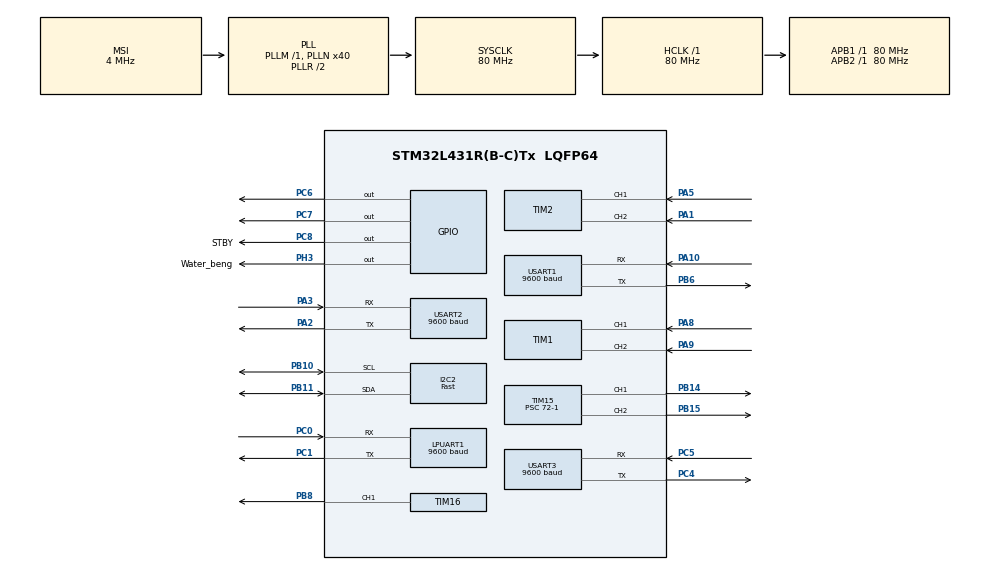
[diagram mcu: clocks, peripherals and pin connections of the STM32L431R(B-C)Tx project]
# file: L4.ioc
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Dma.Request0=USART2_RX
Dma.USART2_RX.0.Direction=DMA_PERIPH_TO_MEMORY
Dma.USART2_RX.0.Instance=DMA1_Channel6
Dma.USART2_RX.0.MemDataAlignment=DMA_MDATAALIGN_BYTE
Dma.USART2_RX.0.MemInc=DMA_MINC_ENABLE
Dma.USART2_RX.0.Mode=DMA_NORMAL
Dma.USART2_RX.0.PeriphDataAlignment=DMA_PDATAALIGN_BYTE
Dma.USART2_RX.0.PeriphInc=DMA_PINC_DISABLE
Dma.USART2_RX.0.Priority=DMA_PRIORITY_HIGH
I2C2.I2C_Speed_Mode=I2C_Fast
I2C2.Speed=100
I2C2.Timing=0x107181FF
LPUART1.BaudRate=9600
LPUART1.WordLength=UART_WORDLENGTH_8B
Mcu.Family=STM32L4
Mcu.Name=STM32L431R(B-C)Tx
Mcu.Package=LQFP64
NVIC.DMA1_Channel6_IRQn=true\:0\:0\:false\:false\:true\:false\:true\:true
NVIC.LPUART1_IRQn=true\:0\:0\:false\:false\:true\:true\:true\:true
NVIC.PVD_PVM_IRQn=true\:0\:0\:false\:false\:true\:true\:true\:true
NVIC.PriorityGroup=NVIC_PRIORITYGROUP_4
NVIC.RTC_Alarm_IRQn=true\:0\:0\:false\:false\:true\:true\:true\:true
NVIC.USART1_IRQn=true\:0\:0\:false\:false\:true\:true\:true\:true
NVIC.USART2_IRQn=true\:0\:0\:false\:false\:true\:true\:true\:true
NVIC.USART3_IRQn=true\:0\:0\:false\:false\:true\:true\:true\:true
PA1.Signal=S_TIM2_CH2
PA10.Mode=Asynchronous
PA10.Signal=USART1_RX
PA13\ (JTMS-SWDIO).Mode=Serial_Wire
PA13\ (JTMS-SWDIO).Signal=SYS_JTMS-SWDIO
PA14\ (JTCK-SWCLK).Mode=Serial_Wire
PA14\ (JTCK-SWCLK).Signal=SYS_JTCK-SWCLK
PA2.Mode=Asynchronous
PA2.Signal=USART2_TX
PA3.Mode=Asynchronous
PA3.Signal=USART2_RX
PA5.Signal=S_TIM2_CH1
PA8.Signal=S_TIM1_CH1
PA9.Signal=S_TIM1_CH2
PB10.Mode=I2C
PB10.Signal=I2C2_SCL
PB11.Mode=I2C
PB11.Signal=I2C2_SDA
PB14.Signal=S_TIM15_CH1
PB15.Signal=S_TIM15_CH2
PB6.Mode=Asynchronous
PB6.Signal=USART1_TX
PB8.Signal=S_TIM16_CH1
PC0.Mode=Asynchronous
PC0.Signal=LPUART1_RX
PC1.Mode=Asynchronous
PC1.Signal=LPUART1_TX
PC14-OSC32_IN\ (PC14).Mode=LSE-External-Oscillator
PC14-OSC32_IN\ (PC14).Signal=RCC_OSC32_IN
PC15-OSC32_OUT\ (PC15).Mode=LSE-External-Oscillator
PC15-OSC32_OUT\ (PC15).Signal=RCC_OSC32_OUT
PC4.Mode=Asynchronous
PC4.Signal=USART3_TX
PC5.Mode=Asynchronous
PC5.Signal=USART3_RX
PC6.PinState=GPIO_PIN_SET
PC6.Signal=GPIO_Output
PC7.PinState=GPIO_PIN_RESET
PC7.Signal=GPIO_Output
PC8.GPIO_Label=STBY
PC8.GPIO_Speed=GPIO_SPEED_FREQ_MEDIUM
PC8.Signal=GPIO_Output
PH0-OSC_IN\ (PH0).Mode=HSE-External-Oscillator
PH0-OSC_IN\ (PH0).Signal=RCC_OSC_IN
PH1-OSC_OUT\ (PH1).Mode=HSE-External-Oscillator
PH1-OSC_OUT\ (PH1).Signal=RCC_OSC_OUT
PH3-BOOT0.GPIO_Label=Water_beng
PH3-BOOT0.Signal=GPIO_Output
ProjectManager.HeapSize=0x200
ProjectManager.StackSize=0x400
ProjectManager.TargetToolchain=MDK-ARM V5.32
RCC.AHBFreq_Value=80000000
RCC.APB1Freq_Value=80000000
RCC.APB1TimFreq_Value=80000000
RCC.APB2Freq_Value=80000000
RCC.APB2TimFreq_Value=80000000
RCC.CortexFreq_Value=80000000
RCC.HCLKFreq_Value=80000000
RCC.HSE_VALUE=8000000
RCC.HSI48_VALUE=48000000
RCC.HSI_VALUE=16000000
RCC.LPUART1CLockSelection=RCC_LPUART1CLKSOURCE_HSI
RCC.MSI_VALUE=4000000
RCC.PLLN=40
RCC.SYSCLKFreq_VALUE=80000000
RCC.SYSCLKSource=RCC_SYSCLKSOURCE_PLLCLK
RCC.VCOOutputFreq_Value=160000000
RTC.Alarm-Alarm\ A=RTC_ALARM_A
SH.S_TIM15_CH1.0=TIM15_CH1,PWM Generation1 CH1
SH.S_TIM15_CH2.0=TIM15_CH2,PWM Generation2 CH2
SH.S_TIM16_CH1.0=TIM16_CH1,PWM Generation1 CH1
SH.S_TIM1_CH1.0=TIM1_CH1,Encoder_Interface
SH.S_TIM1_CH2.0=TIM1_CH2,Encoder_Interface
SH.S_TIM2_CH1.0=TIM2_CH1,Encoder_Interface
SH.S_TIM2_CH2.0=TIM2_CH2,Encoder_Interface
TIM15.Channel-PWM\ Generation1\ CH1=TIM_CHANNEL_1
TIM15.Channel-PWM\ Generation2\ CH2=TIM_CHANNEL_2
TIM15.Period=1000-1
TIM15.Prescaler=72-1
TIM16.AutoReloadPreload=TIM_AUTORELOAD_PRELOAD_ENABLE
TIM16.Channel=TIM_CHANNEL_1
TIM16.Period=19999
TIM16.Prescaler=71
USART1.BaudRate=9600
USART1.VirtualMode-Asynchronous=VM_ASYNC
USART2.BaudRate=9600
USART2.VirtualMode-Asynchronous=VM_ASYNC
USART3.BaudRate=9600
USART3.VirtualMode-Asynchronous=VM_ASYNC
VP_RTC_VS_RTC_Activate.Mode=RTC_Enabled
VP_RTC_VS_RTC_Alarm_A_Intern.Mode=Alarm A
VP_RTC_VS_RTC_Calendar.Mode=RTC_Calendar
VP_TIM16_VS_ClockSourceINT.Mode=Enable_Timer
board=custom

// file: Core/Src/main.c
/* USER CODE BEGIN Header */
/**
  ******************************************************************************
  * @file           : main.c
  * @brief          : Main program body
  ******************************************************************************
  * @attention
  *
  * Copyright (c) 2025 STMicroelectronics.
  * All rights reserved.
  *
  * This software is licensed under terms that can be found in the LICENSE file
  * in the root directory of this software component.
  * If no LICENSE file comes with this software, it is provided AS-IS.
  *
  ******************************************************************************
  */
/* USER CODE END Header */
#include "main.h"
#include "dma.h"
#include "i2c.h"
#include "usart.h"
#include "rtc.h"
#include "tim.h"
#include "gpio.h"

/* USER CODE BEGIN Includes */
#include <string.h>
#include <stdio.h>
#include "Connect.h"
#include "MqttTask.h"
#include "yolo.h"
#include "NanoEdgeAI.h"
#include "judge.h"
#include "ST25DV.h"
//#include "stop.h"
#include "encoder.h"
#include "Motor.h"
#include "ota_app.h"
// YOLO 外部变量
extern uint8_t rx3_buffer[];
extern volatile uint16_t rx3_head;
extern volatile uint16_t rx3_tail;
#define RX3_BUFFER_SIZE 64
/* USER CODE END Includes */

/* USER CODE BEGIN PV */
uint8_t lpuart_buf = 0;   // 定义LPUART接收缓冲
// NanoEdgeAI 变量
enum neai_state neai_state;        // NEAI 函数返回状
bool use_pretrained = true;        // true=使用预训练模形, false=从头学习
uint8_t similarity;                // 相似度百分比 (0-100)
float input_signal[NEAI_INPUT_SIGNAL_LENGTH * NEAI_INPUT_AXIS_NUMBER];  // 输入信号缓冲 (8个float)

// 接收完整数据帧的缓冲
uint8_t tx_buffer[] = {0x01, 0x03, 0x00, 0x00, 0x00, 0x01, 0x84, 0x0A}; // 风速
uint8_t tx_buffer2[] = {0x02, 0x03, 0x00, 0x00, 0x00, 0x04, 0x44, 0x3A}; // 空气温湿度
uint8_t tx_buffer3[] = {0x03, 0x03, 0x00, 0x00, 0x00, 0x03, 0x04, 0x29}; // 土壤传感度

float wind_speed = 0.0f;           // 风速

float air_temp = 0.0f;             // 空气温度
float air_humidity = 0.0f;         // 空气湿度
uint16_t light_intensity = 0;      // 光照强度
float air_pressure = 0.0f;		   //大气压强

float soil_temp = 0.0f;            // 土壤温度
float soil_humidity = 0.0f;        // 土壤湿度
float soil_ph = 0.0f;              // 土壤pH

uint32_t last_send_time = 0; // 上次发送数据时间记

#define LPUART_BUFFER_SIZE 4096
uint8_t lpuart_buffer[LPUART_BUFFER_SIZE];   // LPUART1 环形缓冲区 (BC28, 需容纳 Hex OTA 帧 ~500B, 加大防溢出)
volatile uint16_t lpuart_head = 0;        // 读指针
volatile uint16_t lpuart_tail = 0;        // 写指针

// LPUART1 错误统计（中断回调里只计数，不打印/不重操作）
volatile uint32_t lpuart_error_count = 0;
volatile uint32_t lpuart_last_error = 0;
volatile uint8_t  lpuart_error_flag = 0;

// 改进的消息队列实�?
#define RX_BUFFER_SIZE 256
uint8_t rx_buffer[RX_BUFFER_SIZE];     // 环形缓冲
volatile uint16_t rx_head = 0;         // 缓冲区读指针
volatile uint16_t rx_tail = 0;         // 缓冲区写指针

// MQTT连接状态
volatile uint8_t mqtt_connected = 0;   // MQTT连接状态

/* USER CODE END PV */

void SystemClock_Config(void);
/* USER CODE BEGIN PFP */
uint8_t LPUART_ReadByte(uint8_t *byte);
void Process_LPUART_Idle(void);
void ProcessReceivedData(void);
int FindModbusFrame(uint8_t* frame_len);
void LPUART_Flush(void);
/* USER CODE END PFP */

/* USER CODE BEGIN 0 */
// ===== 轻量级数字转字符串辅助函数（替代 sprintf，避免栈溢出�? =====

void my_itoa(int32_t val, char *buf) {
    char tmp[12];
    int i = 0, neg = 0;
    if (val < 0) { neg = 1; val = -val; }
    if (val == 0) { buf[0] = '0'; buf[1] = '\0'; return; }
    while (val > 0) { tmp[i++] = '0' + (val % 10); val /= 10; }
    int pos = 0;
    if (neg) buf[pos++] = '-';
    while (--i >= 0) buf[pos++] = tmp[i];
    buf[pos] = '\0';
}

void my_u16toa(uint16_t val, char *buf) {
    char tmp[6];
    int i = 0;
    if (val == 0) { buf[0] = '0'; buf[1] = '\0'; return; }
    while (val > 0) { tmp[i++] = '0' + (val % 10); val /= 10; }
    int pos = 0;
    while (--i >= 0) buf[pos++] = tmp[i];
    buf[pos] = '\0';
}

void my_ftoa(float val, char *buf, int decimals) {
    if (val < 0) { *buf++ = '-'; val = -val; }
    int32_t ipart = (int32_t)val;
    float fpart = val - (float)ipart;
    // 整数部分
    char tmp[12]; int i = 0;
    if (ipart == 0) tmp[i++] = '0';
    else { int32_t v = ipart; while (v > 0) { tmp[i++] = '0' + (v % 10); v /= 10; } }
    int pos = 0;
    while (--i >= 0) buf[pos++] = tmp[i];
    // 小数部分
    if (decimals > 0) {
        buf[pos++] = '.';
        for (int d = 0; d < decimals; d++) { fpart *= 10; int dig = (int)fpart; buf[pos++] = '0' + dig; fpart -= dig; }
    }
    buf[pos] = '\0';
}

/* USER CODE END 0 */

int main(void)
{

  /* MCU Configuration--------------------------------------------------------*/

  /* Reset of all peripherals, Initializes the Flash interface and the Systick. */
  HAL_Init();

  /* Configure the system clock */
  SystemClock_Config();

  /* Initialize all configured peripherals */
  MX_GPIO_Init();
  MX_DMA_Init();
  MX_USART1_UART_Init();
  MX_USART2_UART_Init();
  MX_USART3_UART_Init();
  MX_I2C2_Init();
  MX_TIM16_Init();
  MX_LPUART1_UART_Init();
  MX_RTC_Init();
  MX_TIM1_Init();
  MX_TIM2_Init();
  MX_TIM15_Init();
  /* USER CODE BEGIN 2 */

  // 清除 BootLoader 跳转遗留的 PRIMASK，恢复全局中断（否则 SysTick/USART/DMA 全部不工作）
  __enable_irq();

  // 增加初始延时让外设模块稳定
  HAL_Delay(1000);

  // OTA 启动检查
  OTA_Init();

  // 启动串口接收中断（UART2用于数据采集，LPUART1用于BC28）
  HAL_UART_Receive_IT(&huart2, &rx_buffer[rx_head], 1);
  HAL_UART_Receive_IT(&hlpuart1, &lpuart_buffer[lpuart_head], 1);

//串口三打印处（1）

  // 等待BC28模块就绪并连接服务器
  while(!BC28_Check_Status()) {
      HAL_Delay(1000);
  }
  HAL_Delay(1000);

//串口三打印处（2）

  mqtt_connected = BC28_Connect_Server() ? 1 : 0;
  HAL_Delay(1000);

  // 确认OTA启动（如果需要）
  OTA_ConfirmBoot();

//  串口三打印处（3）

  // 初始化各外设模块
  YOLO_Init();
  Motor_Init();
  Encoder_Init();

  last_send_time = HAL_GetTick(); // 初始化时间记录

  // 拉高PC6，导通高侧开关
  HAL_GPIO_WritePin(GPIOC, GPIO_PIN_6, GPIO_PIN_SET);
  // 确认PH3继电器关闭
  HAL_GPIO_WritePin(Water_beng_GPIO_Port, Water_beng_Pin, GPIO_PIN_RESET);

  // 初始化NanoEdgeAI
  neai_state = neai_anomalydetection_init(use_pretrained);

  // 初始化ST25DV NFC标签
  ST25DV_Init();

  /* USER CODE END 2 */

  /* Infinite loop */
  while (1)
  {

    /* USER CODE BEGIN 3 */

    // 持续处理UART2接收的Modbus传感器数据
    ProcessReceivedData();

    // 处理LPUART1接收（MQTT下行指令）
    Process_LPUART_Idle();

    // 处理UART3接收（YOLO视觉数据）
    YOLO_Process();

    // OTA 后台处理
    OTA_Process();

    /* LPUART1 错误处理（每秒最多一次，仅清除标志） */
    static uint32_t lpuart_err_print_tick = 0;
    if (lpuart_error_flag && HAL_GetTick() - lpuart_err_print_tick >= 1000)
    {
        lpuart_err_print_tick = HAL_GetTick();
        lpuart_error_flag = 0;
    }

    // ===== 每30秒执行一次：传感器采集 + MQTT上报 + AI异常检测 =====
    if (HAL_GetTick() - last_send_time > 10000)
    {
        // OTA 进行中（下载/校验/激活）时暂停数据上报，避免 Flash 冲突和 UART 争用
        ota_state_t ota_state = OTA_GetState();
        if (ota_state != OTA_STATE_DOWNLOADING &&
            ota_state != OTA_STATE_VERIFYING &&
            ota_state != OTA_STATE_ACTIVATING)
        {
        if (mqtt_connected)
        {
            // --- 步骤A: 询问风速传感器 (Modbus地址0x01) ---
            HAL_UART_Transmit(&huart2, tx_buffer, sizeof(tx_buffer), HAL_MAX_DELAY);
            HAL_Delay(200);
            ProcessReceivedData();           // 解析风速回复
            BC28_Publish_Data(1);            // MQTT上报风速
            HAL_Delay(500);

            // --- 步骤B: 询问空气传感器 (Modbus地址0x02) ---
            HAL_UART_Transmit(&huart2, tx_buffer2, sizeof(tx_buffer2), HAL_MAX_DELAY);
            HAL_Delay(200);
            ProcessReceivedData();           // 解析空气传感器回复
            BC28_Publish_Data(2);            // MQTT上报空气数据
            HAL_Delay(500);

            // --- 步骤C: 询问土壤传感器 (Modbus地址0x03) ---
            HAL_UART_Transmit(&huart2, tx_buffer3, sizeof(tx_buffer3), HAL_MAX_DELAY);
            HAL_Delay(200);
            ProcessReceivedData();           // 解析土壤传感器回复
            BC28_Publish_Data(3);            // MQTT上报土壤数据

            // 采集完毕，将最新数据写入NFC供用户随时读取
            ST25DV_StoreAllSensorData(wind_speed, air_temp, air_humidity,
                                      light_intensity, air_pressure,
                                      soil_temp, soil_humidity, soil_ph);

            // === NanoEdge AI 异常检测 ===
            input_signal[0] = wind_speed;
            input_signal[1] = air_temp;
            input_signal[2] = air_humidity;
            input_signal[3] = (float)light_intensity;
            input_signal[4] = air_pressure;
            input_signal[5] = soil_temp;
            input_signal[6] = soil_humidity;
            input_signal[7] = soil_ph;

            neai_state = neai_anomalydetection_detect(input_signal, &similarity);

            if (neai_state == NEAI_OK)
            {
                if (similarity < 80)
                {
                    char* warning_json = Judge_And_Pack_Anomaly(wind_speed, air_temp, air_humidity,
                                                                light_intensity, air_pressure,
                                                                soil_temp, soil_humidity, soil_ph);
                    BC28_Publish_Anomaly(warning_json);
                }
            }
        }

        } // OTA 状态检查结束

        last_send_time = HAL_GetTick();    // 重置计时器
    }

    /* 主循环保持高频轮询 UART */
    HAL_Delay(10);
  }
  /* USER CODE END 3 */
}

void SystemClock_Config(void)
{
  RCC_OscInitTypeDef RCC_OscInitStruct = {0};
  RCC_ClkInitTypeDef RCC_ClkInitStruct = {0};

  /** Configure the main internal regulator output voltage
  */
  if (HAL_PWREx_ControlVoltageScaling(PWR_REGULATOR_VOLTAGE_SCALE1) != HAL_OK)
  {
    Error_Handler();
  }

  /** Configure LSE Drive Capability
  */
  HAL_PWR_EnableBkUpAccess();
  __HAL_RCC_LSEDRIVE_CONFIG(RCC_LSEDRIVE_LOW);

  /** Initializes the RCC Oscillators according to the specified parameters
  * in the RCC_OscInitTypeDef structure.
  */
  RCC_OscInitStruct.OscillatorType = RCC_OSCILLATORTYPE_HSI|RCC_OSCILLATORTYPE_LSI
                              |RCC_OSCILLATORTYPE_LSE|RCC_OSCILLATORTYPE_MSI;
  RCC_OscInitStruct.LSEState = RCC_LSE_ON;
  RCC_OscInitStruct.HSIState = RCC_HSI_ON;
  RCC_OscInitStruct.HSICalibrationValue = RCC_HSICALIBRATION_DEFAULT;
  RCC_OscInitStruct.LSIState = RCC_LSI_ON;
  RCC_OscInitStruct.MSIState = RCC_MSI_ON;
  RCC_OscInitStruct.MSICalibrationValue = 0;
  RCC_OscInitStruct.MSIClockRange = RCC_MSIRANGE_6;
  RCC_OscInitStruct.PLL.PLLState = RCC_PLL_ON;
  RCC_OscInitStruct.PLL.PLLSource = RCC_PLLSOURCE_MSI;
  RCC_OscInitStruct.PLL.PLLM = 1;
  RCC_OscInitStruct.PLL.PLLN = 40;
  RCC_OscInitStruct.PLL.PLLP = RCC_PLLP_DIV7;
  RCC_OscInitStruct.PLL.PLLQ = RCC_PLLQ_DIV2;
  RCC_OscInitStruct.PLL.PLLR = RCC_PLLR_DIV2;
  if (HAL_RCC_OscConfig(&RCC_OscInitStruct) != HAL_OK)
  {
    Error_Handler();
  }

  /** Initializes the CPU, AHB and APB buses clocks
  */
  RCC_ClkInitStruct.ClockType = RCC_CLOCKTYPE_HCLK|RCC_CLOCKTYPE_SYSCLK
                              |RCC_CLOCKTYPE_PCLK1|RCC_CLOCKTYPE_PCLK2;
  RCC_ClkInitStruct.SYSCLKSource = RCC_SYSCLKSOURCE_PLLCLK;
  RCC_ClkInitStruct.AHBCLKDivider = RCC_SYSCLK_DIV1;
  RCC_ClkInitStruct.APB1CLKDivider = RCC_HCLK_DIV1;
  RCC_ClkInitStruct.APB2CLKDivider = RCC_HCLK_DIV1;

  if (HAL_RCC_ClockConfig(&RCC_ClkInitStruct, FLASH_LATENCY_4) != HAL_OK)
  {
    Error_Handler();
  }

  /** Enable MSI Auto calibration
  */
  HAL_RCCEx_EnableMSIPLLMode();
}

/* USER CODE BEGIN 4 */
/**
 * @brief LPUART环形缓冲区读取一个字节
 */
uint8_t LPUART_ReadByte(uint8_t *byte) {
    if (lpuart_head != lpuart_tail) {
        *byte = lpuart_buffer[lpuart_tail];
        lpuart_tail = (lpuart_tail + 1) & (LPUART_BUFFER_SIZE - 1);
        return 1;
    }
    return 0;
}

/**
 * @brief  清空 LPUART1 环形缓冲区旧数据
 *         用于 AT 命令发送前，避免 Wait_For_Response 被
 *         旧的 +QMTRECV / OK / +QMTPUB 干扰。
 *         注意：不用 HAL_UART_AbortReceive()，只做指针归位。
 */
void LPUART_Flush(void)
{
    __disable_irq();
    lpuart_tail = lpuart_head;
    __enable_irq();
}

/**
 * @brief 主循环中处理 LPUART1 接收到的异步数据 (如下发指令)
 */
void Process_LPUART_Idle(void) {
    static char line_buf[1536];
    static int line_idx = 0;
    uint8_t data;

    while (LPUART_ReadByte(&data)) {
        if (line_idx < sizeof(line_buf) - 1) {
            line_buf[line_idx++] = data;
            line_buf[line_idx] = '\0';
        } else {
            /* 溢出保护：清空缓冲区，丢弃过长行 */
            line_idx = 0;
            memset(line_buf, 0, sizeof(line_buf));
            continue;
        }
        // 遇到换行符，说明接收到完整的数据
        if (data == '\n') {
            // 如果这一行包含 MQTT 下发前缀，则交给 MqttTask 处理
            if (strstr(line_buf, "+QMTRECV:")) {
                Process_MQTT_Downlink((uint8_t*)line_buf, line_idx);
            }
            /* 处理完毕，清空行缓存 */
            line_idx = 0;
            memset(line_buf, 0, sizeof(line_buf));
        }
    }
}

uint16_t Modbus_CRC16(uint8_t *ptr, uint16_t len) {
    uint16_t crc = 0xFFFF;
    while (len--) {
        crc ^= *ptr++;
        for (int i = 0; i < 8; i++) {
            if (crc & 0x01) {
                crc >>= 1;
                crc ^= 0xA001;
            } else {
                crc >>= 1;
            }
        }
    }
    return crc;
}

/**
 * @brief  查找MODBUS RTU�?
 * @retval -1:未找到完整帧, 其他:帧起始位�?
 */
int FindModbusFrame(uint8_t* frame_len) //frame_len 是指向帧长度的指�?
{
  uint16_t len = (rx_head - rx_tail) & (RX_BUFFER_SIZE - 1);
  if(len < 7) return -1; // 至少7字节

  // 查找帧头
  uint16_t pos = rx_tail;
  uint16_t checked = 0;

  while(checked < (len - 6)) {
	uint8_t addr = rx_buffer[pos];
    uint8_t func = rx_buffer[(pos + 1) & (RX_BUFFER_SIZE - 1)];
    // 地址码，功能�?
    if((addr >= 0x01 && addr <= 0x03) && func == 0x03){
      // 获取数据长度
      uint8_t data_len = rx_buffer[(pos + 2) & (RX_BUFFER_SIZE - 1)];
      uint16_t frame_length = 3 + data_len + 2; // 地址(1) + 功能�?(1) + 数据长度(1) + 数据(N) + CRC(2)

      if(frame_length <= len) {
        *frame_len = frame_length;
        return pos;
      }
    }
    pos = (pos + 1) & (RX_BUFFER_SIZE - 1);
    checked++;
  }

  return -1;
}

/**
 * @brief  处理接收到的传感器数�?
 * @retval None
 */
void ProcessReceivedData(void)
{
    static uint8_t processing_buffer[32]; // 临时处理缓冲
    uint8_t frame_len;
    int frame_start;

    // 持续查找并处理完整帧
    while ((frame_start = FindModbusFrame(&frame_len)) >= 0)
    {
        // 提取完整帧到临时缓冲
        for (int i = 0; i < frame_len; i++)
        {
            processing_buffer[i] = rx_buffer[(frame_start + i) & (RX_BUFFER_SIZE - 1)];
        }

        //CRC校验:对帧数据部分(去掉�?�?2字节CRC本身)计算CRC，与帧尾CRC对比
        uint16_t calc_crc = Modbus_CRC16(processing_buffer, frame_len - 2);
        uint16_t recv_crc = (processing_buffer[frame_len - 1] << 8) | processing_buffer[frame_len - 2]; // Modbus CRC低字节在�?
        if (calc_crc != recv_crc)
        {
            // CRC校验失败，丢弃当前字节继续查�????
            rx_tail = (frame_start + 1) & (RX_BUFFER_SIZE - 1);
            continue;
        }

        // 根据地址判断是哪个传感器
        uint8_t slave_addr = processing_buffer[0];
        uint8_t func_code = processing_buffer[1];

        if (func_code == 0x03)
        {
            uint8_t data_len = processing_buffer[2]; // 数据字节

            if (data_len == 0x02 && slave_addr == 0x01)
            {
                // 解析风力数据(地址0x01)
                uint16_t wind_raw = (processing_buffer[3] << 8) | processing_buffer[4];
                wind_speed = wind_raw / 10.0f;

			}
			else if (data_len == 0x08 && slave_addr == 0x02)
            {
                // 解析空气温湿度光照大气压(地址0x02)

                // 1. 温度 (字节 3,4)
                int16_t temp_raw = (processing_buffer[3] << 8) | processing_buffer[4];
                air_temp = temp_raw / 10.0f;

                // 2. 湿度 (字节 5,6)
                uint16_t hum_raw = (processing_buffer[5] << 8) | processing_buffer[6];
                air_humidity = hum_raw / 10.0f;

                // 3. 光照 (字节 7,8)
                // 根据手册 1234 -> 12340 Lux，所以要乘以 10
                uint32_t light_raw = (processing_buffer[7] << 8) | processing_buffer[8];
                light_intensity = light_raw * 10;

                // 4. 大气压强 (字节 9,10)
                uint16_t press_raw = (processing_buffer[9] << 8) | processing_buffer[10];
                air_pressure = press_raw / 10.0f; // 9462 -> 946.2 hPa

			}
            else if (data_len == 0x06 && slave_addr == 0x03)
            {
                // 解析土壤传感器数�?(地址0x03)
                // 土壤温度（补码）
                int16_t soil_temp_raw = (processing_buffer[3] << 8) | processing_buffer[4];
                soil_temp = soil_temp_raw / 10.0f;

                // 土壤湿度
                uint16_t soil_hum_raw = (processing_buffer[5] << 8) | processing_buffer[6];
                soil_humidity = soil_hum_raw / 10.0f;

                //  pH
                uint16_t ph_raw = (processing_buffer[7] << 8) | processing_buffer[8];
                soil_ph = ph_raw / 100.0f; // 因为例如 6.86 对应 686 / 100

            }
        }

        // 移动缓冲区指针，跳过已处理的�?
        rx_tail = (frame_start + frame_len) & (RX_BUFFER_SIZE - 1);
    }
}

/**
 * @brief  Rx Transfer completed callback
 * @param  huart: UART handle
 * @retval None
 */
void HAL_UART_RxCpltCallback(UART_HandleTypeDef *huart)
{
  if (huart->Instance == USART2)
  {
    uint16_t next_head = (rx_head + 1) & (RX_BUFFER_SIZE - 1);
    if(next_head != rx_tail) rx_head = next_head;
    HAL_UART_Receive_IT(&huart2, &rx_buffer[rx_head], 1);
  }
  else if (huart->Instance == LPUART1) //  LPUART1中断处理(BC28)
  {
    uint16_t next_head = (lpuart_head + 1) & (LPUART_BUFFER_SIZE - 1);
    if(next_head != lpuart_tail) lpuart_head = next_head;
    HAL_UART_Receive_IT(&hlpuart1, &lpuart_buffer[lpuart_head], 1);
  }
  else if (huart->Instance == USART3) // UART3中断处理 (树莓派YOLO数据)
  {
    uint16_t next_head = (rx3_head + 1) & (RX3_BUFFER_SIZE - 1);
    if(next_head != rx3_tail) rx3_head = next_head;
    HAL_UART_Receive_IT(&huart3, &rx3_buffer[rx3_head], 1);
  }
}

/**
 * @brief  UART 错误回调（仅计数+恢复，禁止打印/重操作）
 *         Flash 编程期间 CPU/中断时序易受影响，LPUART1 可能触发 ORE。
 *         此回调只清错误标志、重置状态机、重启接收中断。
 */
void HAL_UART_ErrorCallback(UART_HandleTypeDef *huart)
{
    if (huart->Instance == LPUART1)
    {
        lpuart_error_count++;
        lpuart_last_error = huart->ErrorCode;
        lpuart_error_flag = 1;

        /*
         * 清 UART 错误标志。
         * 重点是 ORE，过载时最常见。
         */
        __HAL_UART_CLEAR_OREFLAG(huart);
        __HAL_UART_CLEAR_FEFLAG(huart);
        __HAL_UART_CLEAR_NEFLAG(huart);
        __HAL_UART_CLEAR_PEFLAG(huart);

        /*
         * 不要在这里打印，不要做耗时操作。
         * 只尝试重新打开 1 字节中断接收。
         */
        huart->ErrorCode = HAL_UART_ERROR_NONE;
        huart->RxState = HAL_UART_STATE_READY;

        HAL_UART_Receive_IT(&hlpuart1, &lpuart_buffer[lpuart_head], 1);
    }
}

/* USER CODE END 4 */

void Error_Handler(void)
{
  __disable_irq();
  while (1)
  {
  }
}
